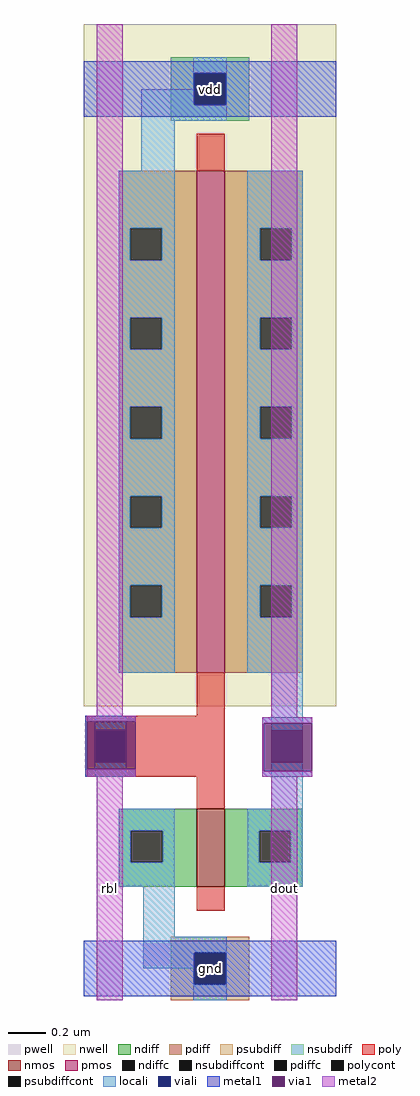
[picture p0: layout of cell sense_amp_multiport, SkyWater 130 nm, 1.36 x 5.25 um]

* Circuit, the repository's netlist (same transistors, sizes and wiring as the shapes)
* SPICE3 file created from sense_amplifier.ext - technology: sky130A



.subckt sense_amp_multiport rbl dout vdd gnd
X0 dout rbl vdd vdd sky130_fd_pr__pfet_01v8 ad=0 pd=0 as=0 ps=0 w=2.7 l=0.15
X1 dout rbl gnd gnd sky130_fd_pr__nfet_01v8 ad=0 pd=0 as=0 ps=0 w=0.42 l=0.15
.ends

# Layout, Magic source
magic
tech sky130A
magscale 1 2
<< nwell >>
rect 0 316 272 1050
<< pwell >>
rect 94 0 178 68
<< nmos >>
rect 122 122 152 206
<< pmos >>
rect 122 352 152 892
<< ndiff >>
rect 38 182 122 206
rect 38 148 51 182
rect 85 148 122 182
rect 38 122 122 148
rect 152 182 236 206
rect 152 148 189 182
rect 223 148 236 182
rect 152 122 236 148
<< pdiff >>
rect 38 830 122 892
rect 38 796 50 830
rect 84 796 122 830
rect 38 734 122 796
rect 38 700 50 734
rect 84 700 122 734
rect 38 638 122 700
rect 38 604 50 638
rect 84 604 122 638
rect 38 542 122 604
rect 38 508 50 542
rect 84 508 122 542
rect 38 446 122 508
rect 38 412 50 446
rect 84 412 122 446
rect 38 352 122 412
rect 152 830 236 892
rect 152 796 190 830
rect 224 796 236 830
rect 152 734 236 796
rect 152 700 190 734
rect 224 700 236 734
rect 152 638 236 700
rect 152 604 190 638
rect 224 604 236 638
rect 152 542 236 604
rect 152 508 190 542
rect 224 508 236 542
rect 152 446 236 508
rect 152 412 190 446
rect 224 412 236 446
rect 152 352 236 412
<< ndiffc >>
rect 51 148 85 182
rect 189 148 223 182
<< pdiffc >>
rect 50 796 84 830
rect 50 700 84 734
rect 50 604 84 638
rect 50 508 84 542
rect 50 412 84 446
rect 190 796 224 830
rect 190 700 224 734
rect 190 604 224 638
rect 190 508 224 542
rect 190 412 224 446
<< psubdiff >>
rect 94 51 178 68
rect 94 17 119 51
rect 153 17 178 51
rect 94 0 178 17
<< nsubdiff >>
rect 94 997 178 1014
rect 94 963 119 997
rect 153 963 178 997
rect 94 946 178 963
<< psubdiffcont >>
rect 119 17 153 51
<< nsubdiffcont >>
rect 119 963 153 997
<< poly >>
rect 122 892 152 932
rect 122 306 152 352
rect 2 290 152 306
rect 2 256 12 290
rect 46 256 152 290
rect 2 240 152 256
rect 122 206 152 240
rect 122 96 152 122
<< polycont >>
rect 12 256 46 290
<< locali >>
rect 118 997 154 1014
rect 118 980 119 997
rect 62 963 119 980
rect 153 963 154 997
rect 62 946 154 963
rect 62 892 98 946
rect 38 830 98 892
rect 38 796 50 830
rect 84 796 98 830
rect 38 734 98 796
rect 38 700 50 734
rect 84 700 98 734
rect 38 638 98 700
rect 38 604 50 638
rect 84 604 98 638
rect 38 542 98 604
rect 38 508 50 542
rect 84 508 98 542
rect 38 446 98 508
rect 38 412 50 446
rect 84 412 98 446
rect 38 352 98 412
rect 176 830 236 892
rect 176 796 190 830
rect 224 796 236 830
rect 176 734 236 796
rect 176 700 190 734
rect 224 700 236 734
rect 176 638 236 700
rect 176 604 190 638
rect 224 604 236 638
rect 176 542 236 604
rect 176 508 190 542
rect 224 508 236 542
rect 176 446 236 508
rect 176 412 190 446
rect 224 412 236 446
rect 176 352 236 412
rect 12 290 46 306
rect 12 240 46 256
rect 202 290 236 352
rect 202 206 236 256
rect 38 182 98 206
rect 38 148 51 182
rect 85 148 98 182
rect 38 122 98 148
rect 176 182 236 206
rect 176 148 189 182
rect 223 148 236 182
rect 176 122 236 148
rect 64 68 98 122
rect 64 51 154 68
rect 64 34 119 51
rect 118 17 119 34
rect 153 17 154 51
rect 118 0 154 17
<< viali >>
rect 119 963 153 997
rect 12 256 46 290
rect 202 256 236 290
rect 119 17 153 51
<< metal1 >>
rect 0 997 272 1010
rect 0 963 119 997
rect 153 963 272 997
rect 0 950 272 963
rect 2 300 56 306
rect 2 248 4 300
rect 2 240 56 248
rect 192 298 246 304
rect 192 246 194 298
rect 192 240 246 246
rect 0 51 272 64
rect 0 17 119 51
rect 153 17 272 51
rect 0 4 272 17
<< via1 >>
rect 4 290 56 300
rect 4 256 12 290
rect 12 256 46 290
rect 46 256 56 290
rect 4 248 56 256
rect 194 290 246 298
rect 194 256 202 290
rect 202 256 236 290
rect 236 256 246 290
rect 194 246 246 256
<< metal2 >>
rect 14 306 42 1050
rect 4 300 56 306
rect 202 304 230 1050
rect 4 240 56 248
rect 192 298 246 304
rect 192 246 194 298
rect 192 240 246 246
rect 14 0 42 240
rect 202 0 230 240
<< labels >>
rlabel metal1 s 0 950 272 1010 4 vdd
port 1 nsew
rlabel metal1 s 0 4 272 64 4 gnd
port 2 nsew
rlabel metal2 s 14 0 42 240 4 rbl
port 3 nsew
rlabel metal2 s 202 0 230 240 4 dout
port 4 nsew
rlabel metal2 s 28 120 28 120 4 rbl
rlabel metal2 s 216 120 216 120 4 dout
rlabel metal1 s 136 980 136 980 4 vdd
rlabel metal1 s 136 34 136 34 4 gnd
<< properties >>
string FIXED_BBOX 0 0 272 1050
string GDS_FILE sram_0rw2r1w_16_128_sky130A.gds
string GDS_END 1494598
string GDS_START 1489970
<< end >>
